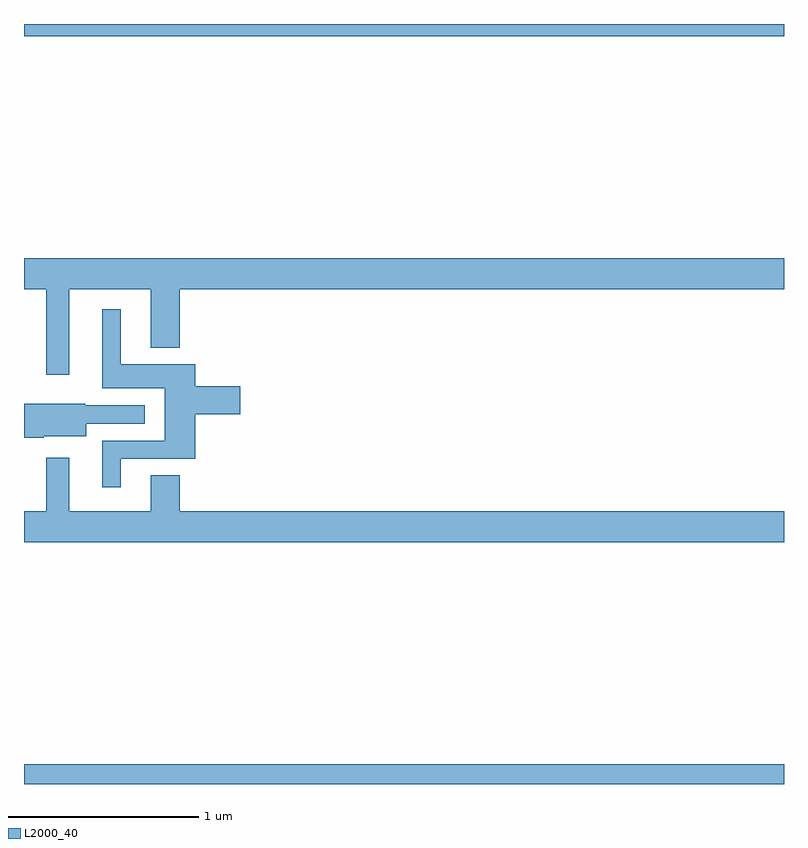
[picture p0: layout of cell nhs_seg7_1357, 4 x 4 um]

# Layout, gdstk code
import gdstk
lib = gdstk.Library(unit=1e-6, precision=1e-09)
def R(c, l, rs):  # rectangles x0, y0, x1, y1
    for r in rs: c.add(gdstk.rectangle(r[:2], r[2:], *l))
def P(c, l, *ps):  # polygons
    for p in ps: c.add(gdstk.Polygon(p, *l))
L2000_40 = (2000, 40)

nhs_seg7_1357 = lib.new_cell('nhs_seg7_1357')
R(nhs_seg7_1357, L2000_40, [(205,1010,209,1010.104), (205,1013.936,209,1014)])
P(nhs_seg7_1357, L2000_40, [(205.237,1012.604),(205.667,1012.604),(205.667,1012.295),(205.82,1012.295),(205.82,1012.604),(209,1012.604),(209,1012.768),(205,1012.768),(205,1012.604),(205.116,1012.604),(205.116,1012.155),(205.237,1012.155)],
  [(205.51,1011.711),(205.901,1011.711),(205.901,1011.947),(206.137,1011.947),(206.137,1012.094),(205.901,1012.094),(205.901,1012.21),(205.51,1012.21),(205.51,1012.498),(205.412,1012.498),(205.412,1012.082),(205.742,1012.082),(205.742,1011.807),(205.412,1011.807),(205.412,1011.561),(205.51,1011.561)],
  [(205.104,1011.83),(205.327,1011.83),(205.327,1011.897),(205.636,1011.897),(205.636,1011.993),(205.323,1011.993),(205.323,1012.001),(205,1012.001),(205,1011.823),(205.104,1011.823)],
  [(209,1011.436),(205.82,1011.436),(205.82,1011.626),(205.667,1011.626),(205.667,1011.436),(205.237,1011.436),(205.237,1011.718),(205.116,1011.718),(205.116,1011.436),(205,1011.436),(205,1011.272),(209,1011.272)])

lib.write_gds('nhs_seg7_1357.gds')
